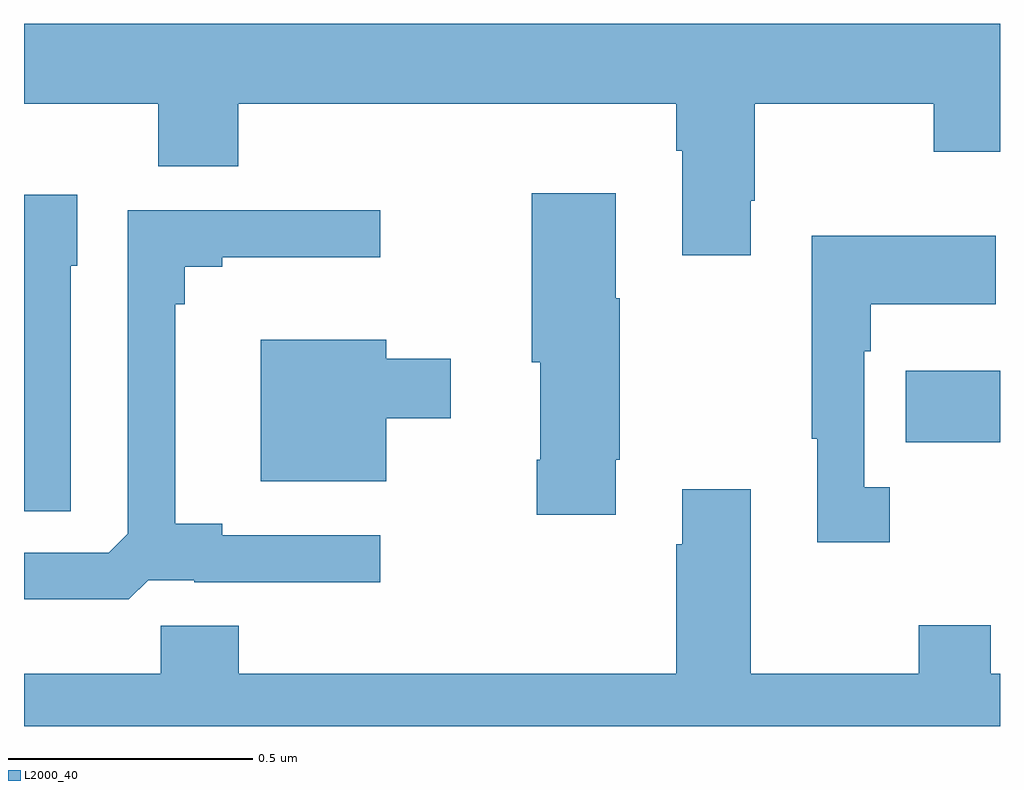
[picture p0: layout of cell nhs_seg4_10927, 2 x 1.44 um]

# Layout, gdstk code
import gdstk
lib = gdstk.Library(unit=1e-6, precision=1e-09)
def R(c, l, rs):  # rectangles x0, y0, x1, y1
    for r in rs: c.add(gdstk.rectangle(r[:2], r[2:], *l))
def P(c, l, *ps):  # polygons
    for p in ps: c.add(gdstk.Polygon(p, *l))
L2000_40 = (2000, 40)

nhs_seg4_10927 = lib.new_cell('nhs_seg4_10927')
R(nhs_seg4_10927, L2000_40, [(247.807,773.482,248,773.629)])
P(nhs_seg4_10927, L2000_40, [(247.489,773.977),(247.497,773.977),(247.497,774.176),(247.864,774.176),(247.864,774.077),(248,774.077),(248,774.34),(246,774.34),(246,774.176),(246.275,774.176),(246.275,774.048),(246.439,774.048),(246.439,774.176),(247.337,774.176),(247.337,774.08),(247.349,774.08),(247.349,773.865),(247.489,773.865)],
  [(247.213,773.446),(247.221,773.446),(247.221,773.777),(247.213,773.777),(247.213,773.992),(247.04,773.992),(247.04,773.646),(247.058,773.646),(247.058,773.446),(247.051,773.446),(247.051,773.334),(247.213,773.334)],
  [(246.096,773.844),(246.109,773.844),(246.109,773.989),(246,773.989),(246,773.341),(246.096,773.341)],
  [(246.255,773.199),(246.349,773.199),(246.349,773.195),(246.73,773.195),(246.73,773.292),(246.406,773.292),(246.406,773.315),(246.31,773.315),(246.31,773.765),(246.329,773.765),(246.329,773.842),(246.406,773.842),(246.406,773.861),(246.73,773.861),(246.73,773.958),(246.213,773.958),(246.213,773.295),(246.174,773.256),(246,773.256),(246,773.16),(246.215,773.16)],
  [(247.774,773.39),(247.722,773.39),(247.722,773.669),(247.735,773.669),(247.735,773.765),(247.991,773.765),(247.991,773.905),(247.614,773.905),(247.614,773.489),(247.625,773.489),(247.625,773.277),(247.774,773.277)],
  [(246.742,773.531),(246.874,773.531),(246.874,773.653),(246.742,773.653),(246.742,773.692),(246.485,773.692),(246.485,773.402),(246.742,773.402)],
  [(248,773.008),(247.981,773.008),(247.981,773.107),(247.834,773.107),(247.834,773.008),(247.489,773.008),(247.489,773.386),(247.349,773.386),(247.349,773.273),(247.337,773.273),(247.337,773.008),(246.44,773.008),(246.44,773.106),(246.28,773.106),(246.28,773.008),(246,773.008),(246,772.9),(248,772.9)])

lib.write_gds('nhs_seg4_10927.gds')
